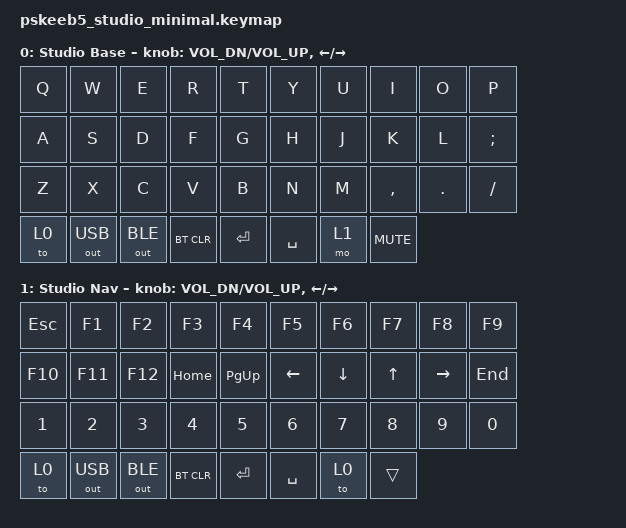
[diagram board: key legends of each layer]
// Minimal keymap used only to isolate ZMK Studio connection/parsing issues.

#include <behaviors.dtsi>
#include <dt-bindings/zmk/keys.h>
#include <dt-bindings/zmk/bt.h>
#include <dt-bindings/zmk/outputs.h>

/ {
    keymap {
        compatible = "zmk,keymap";

        base_layer {
            display-name = "Studio Base";
            bindings = <
                &kp Q       &kp W       &kp E       &kp R       &kp T       &kp Y       &kp U       &kp I       &kp O       &kp P
                &kp A       &kp S       &kp D       &kp F       &kp G       &kp H       &kp J       &kp K       &kp L       &kp SEMI
                &kp Z       &kp X       &kp C       &kp V       &kp B       &kp N       &kp M       &kp COMMA   &kp DOT     &kp FSLH
                &to 0       &out OUT_USB &out OUT_BLE &bt BT_CLR &kp ENTER   &kp SPACE   &mo 1       &kp C_MUTE
            >;
            sensor-bindings = <&inc_dec_kp C_VOL_DN C_VOL_UP &inc_dec_kp LEFT RIGHT>;
        };

        nav_layer {
            display-name = "Studio Nav";
            bindings = <
                &kp ESC     &kp F1      &kp F2      &kp F3      &kp F4      &kp F5      &kp F6      &kp F7      &kp F8      &kp F9
                &kp F10     &kp F11     &kp F12     &kp HOME    &kp PG_UP   &kp LEFT    &kp DOWN    &kp UP      &kp RIGHT   &kp END
                &kp N1      &kp N2      &kp N3      &kp N4      &kp N5      &kp N6      &kp N7      &kp N8      &kp N9      &kp N0
                &to 0       &out OUT_USB &out OUT_BLE &bt BT_CLR &kp ENTER   &kp SPACE   &to 0       &trans
            >;
            sensor-bindings = <&inc_dec_kp C_VOL_DN C_VOL_UP &inc_dec_kp LEFT RIGHT>;
        };
    };
};
